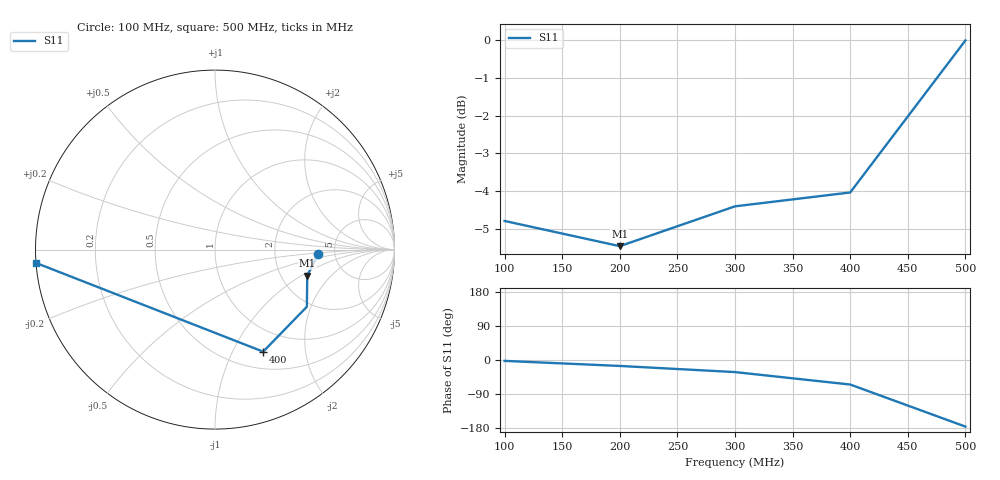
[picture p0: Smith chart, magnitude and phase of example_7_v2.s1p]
!1-port Z-parameter file, multiple frequency points
[Version] 2.0
# MHz Z MA
[Number of Ports] 1
[Reference] 20.0
!freq  magZ11 angZ11
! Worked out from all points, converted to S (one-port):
!   5 points, 100 MHz to 500 MHz, reference 20 ohm
!   lowest |S11| = -5.5 dB at 200 MHz (marker M1), VSWR 3.29, Z = 55.6 - j22.5 ohm
!   |S11| at or under -10 dB: nowhere
!   S11 on the Smith chart (normalised r, x): 100 MHz: 3.70, -0.26; 400 MHz: 0.70, -1.32; 500 MHz: 0.00, -0.04
[Number of Frequencies] 5
[Network Data]
100  74.25 -4.0
200  60 -22.0
300  53.02 -45.0
400  30 -62.0
500  0.75 -89.0
[End]
